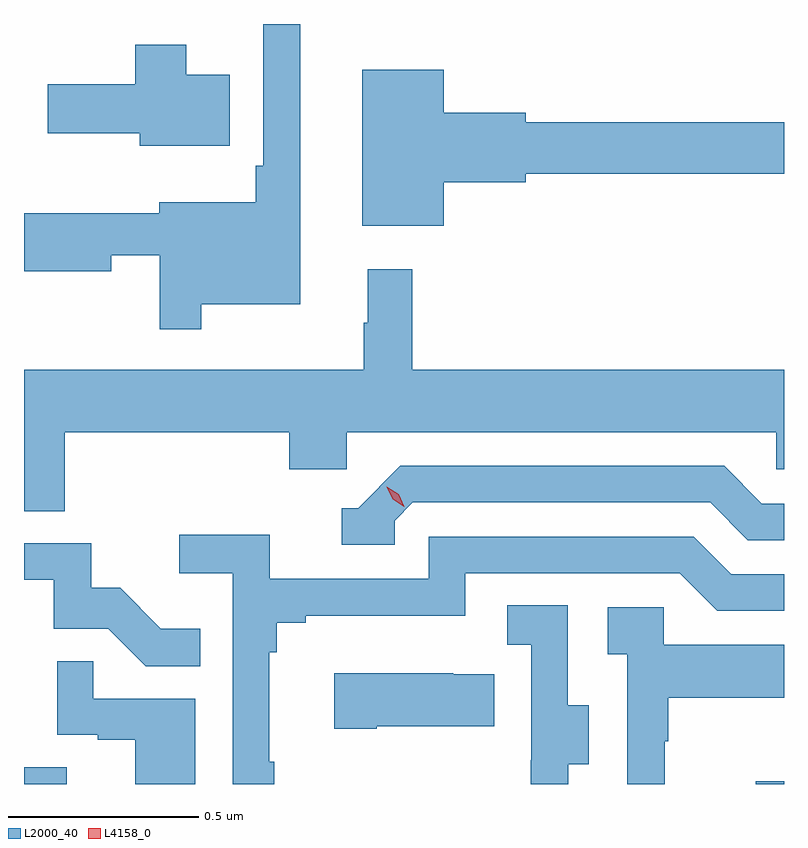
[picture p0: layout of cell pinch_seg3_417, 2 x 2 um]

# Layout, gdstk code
import gdstk
lib = gdstk.Library(unit=1e-6, precision=1e-09)
def R(c, l, rs):  # rectangles x0, y0, x1, y1
    for r in rs: c.add(gdstk.rectangle(r[:2], r[2:], *l))
def P(c, l, *ps):  # polygons
    for p in ps: c.add(gdstk.Polygon(p, *l))
L2000_40 = (2000, 40)
L4158_0 = (4158, 0)

pinch_seg3_417 = lib.new_cell('pinch_seg3_417')
R(pinch_seg3_417, L2000_40, [(912.969,699.99,913.081,700.034), (914.894,699.99,914.969,699.997)])
P(pinch_seg3_417, L2000_40, [(913.435,701.252),(913.696,701.252),(913.696,701.99),(913.599,701.99),(913.599,701.617),(913.579,701.617),(913.579,701.521),(913.325,701.521),(913.325,701.492),(912.969,701.492),(912.969,701.339),(913.198,701.339),(913.198,701.382),(913.326,701.382),(913.326,701.187),(913.435,701.187)],
  [(913.51,701.857),(913.396,701.857),(913.396,701.935),(913.262,701.935),(913.262,701.832),(913.032,701.832),(913.032,701.702),(913.274,701.702),(913.274,701.669),(913.51,701.669)],
  [(914.074,701.573),(914.29,701.573),(914.29,701.596),(914.969,701.596),(914.969,701.732),(914.29,701.732),(914.29,701.756),(914.074,701.756),(914.074,701.869),(913.859,701.869),(913.859,701.459),(914.074,701.459)],
  [(913.076,700.916),(913.667,700.916),(913.667,700.818),(913.818,700.818),(913.818,700.916),(914.949,700.916),(914.949,700.818),(914.969,700.818),(914.969,701.08),(913.991,701.08),(913.991,701.344),(913.874,701.344),(913.874,701.204),(913.863,701.204),(913.863,701.08),(912.969,701.08),(912.969,700.708),(913.076,700.708)],
  [(913.944,700.683),(913.992,700.731),(914.775,700.731),(914.874,700.632),(914.969,700.632),(914.969,700.728),(914.911,700.728),(914.812,700.827),(913.959,700.827),(913.848,700.716),(913.805,700.716),(913.805,700.62),(913.944,700.62)],
  [(913.627,700.049),(913.615,700.049),(913.615,700.337),(913.634,700.337),(913.634,700.414),(913.711,700.414),(913.711,700.433),(914.13,700.433),(914.13,700.545),(914.694,700.545),(914.793,700.446),(914.969,700.446),(914.969,700.542),(914.83,700.542),(914.731,700.641),(914.034,700.641),(914.034,700.53),(913.616,700.53),(913.616,700.646),(913.377,700.646),(913.377,700.544),(913.518,700.544),(913.518,699.99),(913.627,699.99)],
  [(913.433,700.399),(913.329,700.399),(913.222,700.506),(913.146,700.506),(913.146,700.623),(912.969,700.623),(912.969,700.527),(913.047,700.527),(913.047,700.398),(913.191,700.398),(913.289,700.3),(913.433,700.3)],
  [(914.401,700.042),(914.455,700.042),(914.455,700.197),(914.4,700.197),(914.4,700.46),(914.241,700.46),(914.241,700.357),(914.304,700.357),(914.304,700.053),(914.303,700.053),(914.303,699.99),(914.401,699.99)],
  [(914.655,700.103),(914.665,700.103),(914.665,700.217),(914.969,700.217),(914.969,700.357),(914.652,700.357),(914.652,700.455),(914.505,700.455),(914.505,700.331),(914.556,700.331),(914.556,699.99),(914.655,699.99)],
  [(913.42,700.215),(913.151,700.215),(913.151,700.313),(913.056,700.313),(913.056,700.119),(913.163,700.119),(913.163,700.107),(913.262,700.107),(913.262,699.99),(913.42,699.99)],
  [(913.897,700.142),(914.207,700.142),(914.207,700.279),(914.099,700.279),(914.099,700.282),(913.785,700.282),(913.785,700.135),(913.897,700.135)])
P(pinch_seg3_417, L4158_0, [(913.97,700.719),(913.94,700.739),(913.924,700.772),(913.924,700.772),(913.924,700.772),(913.955,700.752),(913.97,700.719),(913.97,700.719)])

lib.write_gds('pinch_seg3_417.gds')
